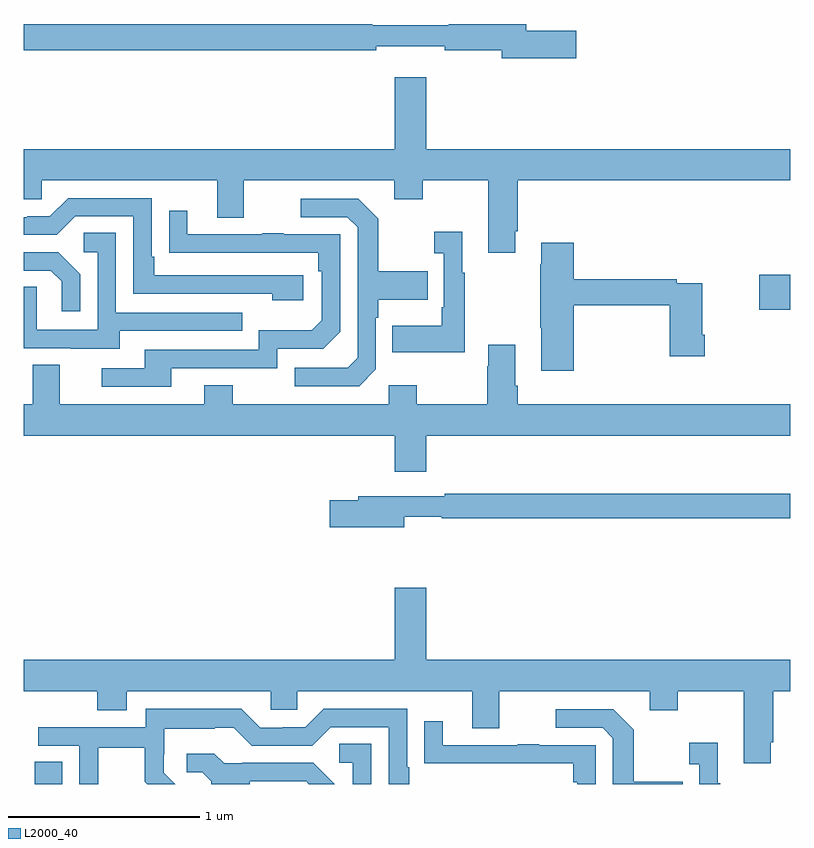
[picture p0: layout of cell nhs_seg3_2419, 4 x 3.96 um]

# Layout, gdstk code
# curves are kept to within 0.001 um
import gdstk
lib = gdstk.Library(unit=1e-6, precision=1e-09)
def R(c, l, rs):  # rectangles x0, y0, x1, y1
    for r in rs: c.add(gdstk.rectangle(r[:2], r[2:], *l))
def P(c, l, *ps):  # polygons
    for p in ps: c.add(gdstk.Polygon(p, *l))
L2000_40 = (2000, 40)

nhs_seg3_2419 = lib.new_cell('nhs_seg3_2419')
R(nhs_seg3_2419, L2000_40, [(235.058,732.4,235.201,732.515), (238.836,734.873,239,735.056)])
P(nhs_seg3_2419, L2000_40, [(237.883,736.328),(237.622,736.328),(237.622,736.364),(237.218,736.364),(237.218,736.357),(236.818,736.357),(236.818,736.364),(235,736.364),(235,736.228),(236.84,736.228),(236.84,736.247),(237.196,736.247),(237.196,736.228),(237.494,736.228),(237.494,736.186),(237.883,736.186)],
  [(237.565,735.283),(237.578,735.283),(237.578,735.548),(239,735.548),(239,735.712),(237.1,735.712),(237.1,736.087),(236.936,736.087),(236.936,735.712),(235,735.712),(235,735.45),(235.095,735.45),(235.095,735.548),(236.009,735.548),(236.009,735.354),(236.149,735.354),(236.149,735.548),(236.933,735.548),(236.933,735.449),(237.081,735.449),(237.081,735.548),(237.425,735.548),(237.425,735.171),(237.565,735.171)],
  [(236.458,735.054),(235.681,735.054),(235.681,735.151),(235.668,735.151),(235.668,735.456),(235.233,735.456),(235.137,735.36),(235.019,735.36),(235.019,735.357),(235,735.357),(235,735.264),(235.173,735.264),(235.269,735.36),(235.572,735.36),(235.572,734.958),(236.297,734.958),(236.297,734.924),(236.458,734.924)],
  [(236.838,734.562),(236.838,734.831),(236.851,734.831),(236.851,734.927),(237.107,734.927),(237.107,735.075),(236.851,735.075),(236.851,735.347),(236.745,735.453),(236.445,735.453),(236.445,735.357),(236.688,735.357),(236.742,735.303),(236.742,734.622),(236.691,734.571),(236.415,734.571),(236.415,734.475),(236.751,734.475)],
  [(235.771,734.568),(236.322,734.568),(236.322,734.67),(236.562,734.67),(236.652,734.76),(236.652,735.267),(236.357,735.267),(236.357,735.272),(236.245,735.272),(236.245,735.267),(235.855,735.267),(235.855,735.391),(235.759,735.391),(235.759,735.172),(236.536,735.171),(236.536,735.074),(236.556,735.074),(236.556,734.82),(236.503,734.767),(236.226,734.767),(236.226,734.664),(235.631,734.664),(235.631,734.568),(235.407,734.568),(235.407,734.472),(235.771,734.472)],
  [(237.301,735.067),(237.289,735.067),(237.289,735.28),(237.141,735.28),(237.141,735.167),(237.192,735.167),(237.192,734.887),(237.18,734.887),(237.18,734.791),(236.923,734.791),(236.923,734.651),(237.301,734.651)],
  [(235.501,734.763),(236.141,734.763),(236.141,734.859),(235.482,734.859),(235.482,735.275),(235.314,735.275),(235.314,735.174),(235.386,735.174),(235.386,734.769),(235.068,734.769),(235.068,734.993),(235,734.993),(235,734.673),(235.247,734.673),(235.247,734.669),(235.501,734.669)],
  [(237.869,734.896),(238.37,734.896),(238.37,734.631),(238.553,734.631),(238.553,734.743),(238.54,734.743),(238.54,735.012),(238.406,735.012),(238.406,735.032),(237.869,735.032),(237.869,735.223),(237.701,735.223),(237.701,735.11),(237.694,735.11),(237.694,734.779),(237.701,734.779),(237.701,734.556),(237.869,734.556)],
  [(235.296,735.058),(235.18,735.174),(235,735.174),(235,735.078),(235.142,735.078),(235.199,735.021),(235.199,734.865),(235.296,734.865)],
  [(237.1,734.216),(239,734.216),(239,734.38),(237.578,734.38),(237.578,734.476),(237.565,734.476),(237.565,734.692),(237.425,734.692),(237.425,734.579),(237.418,734.579),(237.418,734.38),(237.051,734.38),(237.051,734.479),(236.904,734.479),(236.904,734.38),(236.091,734.38),(236.091,734.479),(235.943,734.479),(235.943,734.38),(235.189,734.38),(235.189,734.588),(235.049,734.588),(235.049,734.38),(235,734.38),(235,734.216),(236.936,734.216),(236.936,734.028),(237.1,734.028)],
  [(236.986,733.794),(237.182,733.794),(237.182,733.786),(239,733.786),(239,733.915),(237.196,733.915),(237.196,733.902),(236.747,733.902),(236.747,733.881),(236.598,733.881),(236.598,733.739),(236.986,733.739)],
  [(238.897,732.619),(238.91,732.619),(238.91,732.884),(239,732.884),(239,733.048),(237.1,733.048),(237.1,733.423),(236.936,733.423),(236.936,733.048),(235,733.048),(235,732.884),(235.385,732.884),(235.385,732.785),(235.537,732.785),(235.537,732.884),(236.289,732.884),(236.289,732.786),(236.427,732.786),(236.427,732.884),(237.341,732.884),(237.341,732.69),(237.481,732.69),(237.481,732.884),(238.265,732.884),(238.265,732.785),(238.413,732.785),(238.413,732.884),(238.757,732.884),(238.757,732.507),(238.897,732.507)],
  [(235.389,732.588),(235.633,732.588),(235.633,732.413),(235.646,732.4),(235.79,732.4),(235.732,732.458),(235.732,732.555),(235.734,732.555),(235.734,732.689),(235.997,732.689),(235.997,732.693),(236.097,732.693),(236.19,732.6),(236.505,732.6),(236.601,732.696),(236.904,732.696),(236.904,732.4),(237.013,732.4),(237.013,732.487),(237,732.487),(237,732.792),(236.565,732.792),(236.469,732.696),(236.351,732.696),(236.351,732.693),(236.235,732.693),(236.135,732.793),(235.638,732.793),(235.638,732.696),(235.077,732.696),(235.077,732.6),(235.29,732.6),(235.29,732.4),(235.389,732.4)],
  [(238.439,732.411),(238.183,732.411),(238.183,732.683),(238.077,732.789),(237.777,732.789),(237.777,732.693),(238.02,732.693),(238.074,732.639),(238.074,732.4),(238.439,732.4)],
  [(237.984,732.603),(237.689,732.603),(237.689,732.608),(237.577,732.608),(237.577,732.603),(237.187,732.603),(237.187,732.727),(237.091,732.727),(237.091,732.508),(237.193,732.508),(237.193,732.507),(237.868,732.507),(237.868,732.41),(237.888,732.41),(237.888,732.4),(237.984,732.4)],
  [(238.633,732.403),(238.621,732.403),(238.621,732.616),(238.473,732.616),(238.473,732.503),(238.524,732.503),(238.524,732.4),(238.633,732.4)],
  [(236.814,732.611),(236.646,732.611),(236.646,732.51),(236.718,732.51),(236.718,732.4),(236.814,732.4)],
  [(236.179,732.414),(236.474,732.414),(236.488,732.4),(236.622,732.4),(236.512,732.51),(236.14,732.51),(236.14,732.507),(236.046,732.507),(235.994,732.559),(235.851,732.559),(235.851,732.462),(235.932,732.462),(235.979,732.415),(235.979,732.4),(236.179,732.4)])

lib.write_gds('nhs_seg3_2419.gds')
